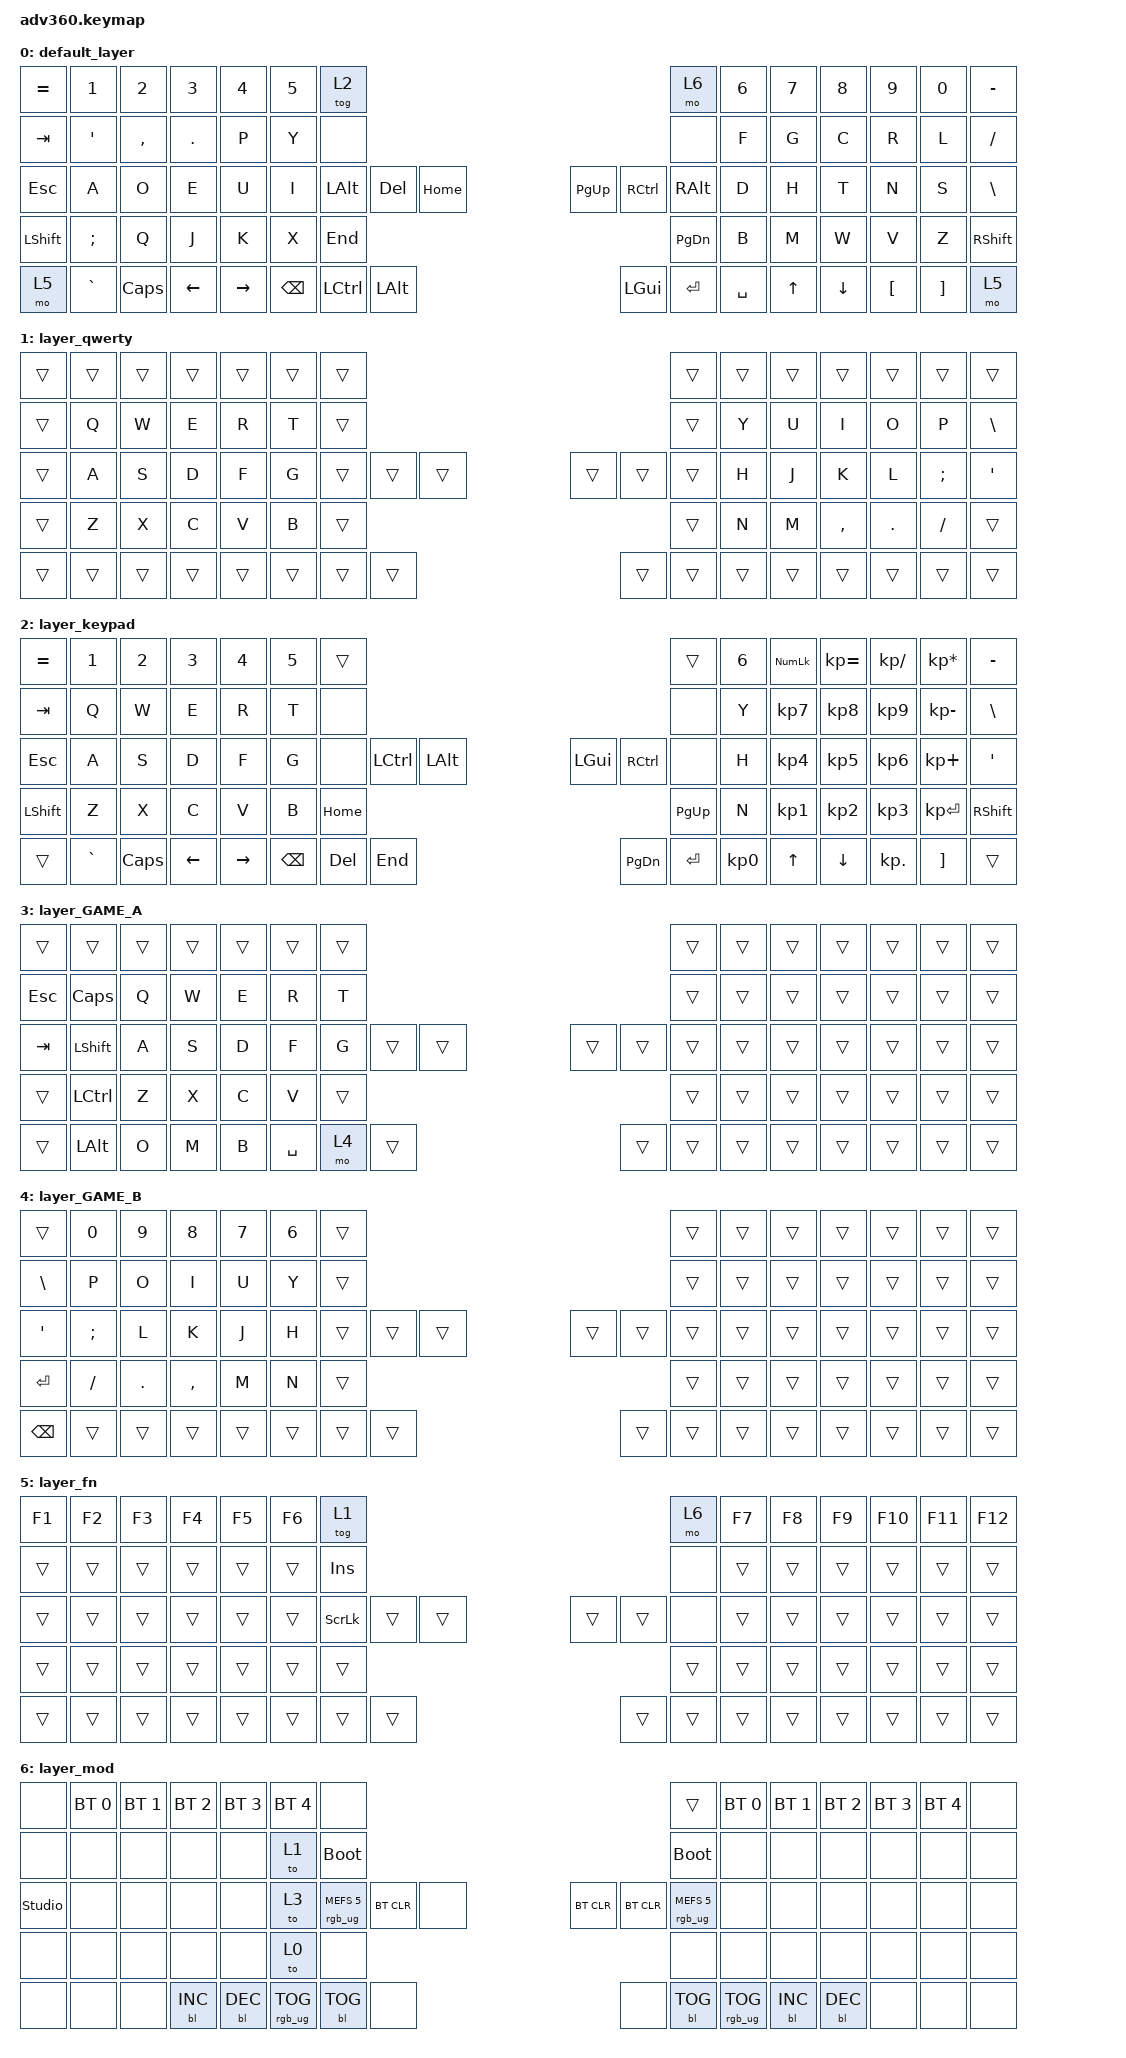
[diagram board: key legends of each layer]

/*
 * Copyright (c) 2020 The ZMK Contributors
 *
 * SPDX-License-Identifier: MIT
 */


/* THIS FILE WAS GENERATED!
 *
 * This file was generated automatically. You may or may not want to
 * edit it directly.
 */

#include <behaviors.dtsi>
#include <dt-bindings/zmk/keys.h>
#include <dt-bindings/zmk/bt.h>
#include <dt-bindings/zmk/rgb.h>
#include <dt-bindings/zmk/stp.h>
#include <dt-bindings/zmk/backlight.h>
#include <dt-bindings/zmk/pointing.h>

/ {
  behaviors {
    #include "macros.dtsi"
    #include "version.dtsi"

    hm: homerow_mods {
        compatible = "zmk,behavior-hold-tap";
        label = "HOMEROW_MODS";
        #binding-cells = <2>;
        tapping-term-ms = <200>;
        quick_tap_ms = <175>;
        flavor = "tap-preferred";
        bindings = <&kp>, <&kp>;
    };
    extra1 { 
      display-name = "Red";    
      status = "reserved";
    };

    extra2 { 
      display-name = "Purple";    
      status = "reserved";
    };

    extra3 { 
      display-name = "Cyan";    
      status = "reserved";
    };

    extra4 { 
      display-name = "Yellow";    
      status = "reserved";
    };
  };

    keymap {
        compatible = "zmk,keymap";


        default_layer {
            bindings = <
 &kp EQUAL     &kp N1     &kp N2    &kp N3     &kp N4  &kp N5              &tog 2                                                                 &mo 6  &kp N6  &kp N7    &kp N8    &kp N9    &kp N0  &kp MINUS
   &kp TAB   &kp APOS  &kp COMMA   &kp DOT      &kp P   &kp Y               &none                                                                 &none   &kp F   &kp G     &kp C     &kp R     &kp L   &kp FSLH
   &kp ESC      &kp A      &kp O     &kp E      &kp U   &kp I            &kp LALT    &kp DEL  &kp HOME                  &kp PG_UP  &kp RCTRL   &kp RALT   &kp D   &kp H     &kp T     &kp N     &kp S   &kp BSLH
 &kp LSHFT   &kp SEMI      &kp Q     &kp J      &kp K   &kp X                                  &kp END                  &kp PG_DN                         &kp B   &kp M     &kp W     &kp V     &kp Z  &kp RSHFT
     &mo 5  &kp GRAVE   &kp CAPS  &kp LEFT  &kp RIGHT                    &kp BSPC  &kp LCTRL  &kp LALT                   &kp LGUI  &kp ENTER  &kp SPACE          &kp UP  &kp DOWN  &kp LBKT  &kp RBKT      &mo 5
            >;
        };

        layer_qwerty {
            bindings = <
 &trans  &trans  &trans  &trans  &trans  &trans            &trans                                                  &trans  &trans  &trans     &trans   &trans    &trans    &trans
 &trans   &kp Q   &kp W   &kp E   &kp R   &kp T            &trans                                                  &trans   &kp Y   &kp U      &kp I    &kp O     &kp P  &kp BSLH
 &trans   &kp A   &kp S   &kp D   &kp F   &kp G            &trans  &trans  &trans                  &trans  &trans  &trans   &kp H   &kp J      &kp K    &kp L  &kp SEMI  &kp APOS
 &trans   &kp Z   &kp X   &kp C   &kp V   &kp B                            &trans                  &trans                   &kp N   &kp M  &kp COMMA  &kp DOT  &kp FSLH    &trans
 &trans  &trans  &trans  &trans  &trans                    &trans  &trans  &trans                  &trans  &trans  &trans          &trans     &trans   &trans    &trans    &trans
            >;
        };

        layer_keypad {
            bindings = <
 &kp EQUAL     &kp N1    &kp N2    &kp N3     &kp N4  &kp N5              &trans                                                                &trans  &kp N6  &kp KP_NUM  &kp KP_EQUAL  &kp KP_DIVIDE  &kp KP_MULTIPLY  &kp MINUS
   &kp TAB      &kp Q     &kp W     &kp E      &kp R   &kp T               &none                                                                 &none   &kp Y   &kp KP_N7     &kp KP_N8      &kp KP_N9     &kp KP_MINUS   &kp BSLH
   &kp ESC      &kp A     &kp S     &kp D      &kp F   &kp G               &none  &kp LCTRL  &kp LALT                   &kp LGUI  &kp RCTRL      &none   &kp H   &kp KP_N4     &kp KP_N5      &kp KP_N6      &kp KP_PLUS    &kp SQT
 &kp LSHFT      &kp Z     &kp X     &kp C      &kp V   &kp B                                 &kp HOME                  &kp PG_UP                         &kp N   &kp KP_N1     &kp KP_N2      &kp KP_N3     &kp KP_ENTER  &kp RSHFT
    &trans  &kp GRAVE  &kp CAPS  &kp LEFT  &kp RIGHT                    &kp BSPC    &kp DEL   &kp END                  &kp PG_DN  &kp ENTER  &kp KP_N0              &kp UP      &kp DOWN     &kp KP_DOT         &kp RBKT     &trans
            >;
        };

        layer_GAME_A {
            bindings = <
  &trans          &trans  &trans  &trans  &trans  &trans               &trans                                                  &trans  &trans  &trans  &trans  &trans  &trans  &trans
 &kp ESC        &kp CAPS   &kp Q   &kp W   &kp E   &kp R                &kp T                                                  &trans  &trans  &trans  &trans  &trans  &trans  &trans
 &kp TAB  &kp LEFT_SHIFT   &kp A   &kp S   &kp D   &kp F                &kp G  &trans  &trans                  &trans  &trans  &trans  &trans  &trans  &trans  &trans  &trans  &trans
  &trans       &kp LCTRL   &kp Z   &kp X   &kp C   &kp V                               &trans                  &trans                  &trans  &trans  &trans  &trans  &trans  &trans
  &trans    &kp LEFT_ALT   &kp O   &kp M   &kp B                    &kp SPACE   &mo 4  &trans                  &trans  &trans  &trans          &trans  &trans  &trans  &trans  &trans
            >;
        };

        layer_GAME_B {
            bindings = <
        &trans         &kp N0   &kp N9     &kp N8  &kp N7  &kp N6            &trans                                                  &trans  &trans  &trans  &trans  &trans  &trans  &trans
 &kp BACKSLASH          &kp P    &kp O      &kp I   &kp U   &kp Y            &trans                                                  &trans  &trans  &trans  &trans  &trans  &trans  &trans
      &kp APOS  &kp SEMICOLON    &kp L      &kp K   &kp J   &kp H            &trans  &trans  &trans                  &trans  &trans  &trans  &trans  &trans  &trans  &trans  &trans  &trans
     &kp ENTER      &kp SLASH  &kp DOT  &kp COMMA   &kp M   &kp N                            &trans                  &trans                  &trans  &trans  &trans  &trans  &trans  &trans
      &kp BSPC         &trans   &trans     &trans  &trans                    &trans  &trans  &trans                  &trans  &trans  &trans          &trans  &trans  &trans  &trans  &trans
            >;
        };

        layer_fn {
            bindings = <
 &kp F1  &kp F2  &kp F3  &kp F4  &kp F5  &kp F6                    &tog 1                                                   &mo 6  &kp F7  &kp F8  &kp F9  &kp F10  &kp F11  &kp F12
 &trans  &trans  &trans  &trans  &trans  &trans                &kp INSERT                                                   &none  &trans  &trans  &trans   &trans   &trans   &trans
 &trans  &trans  &trans  &trans  &trans  &trans            &kp SCROLLLOCK  &trans  &trans                  &trans  &trans   &none  &trans  &trans  &trans   &trans   &trans   &trans
 &trans  &trans  &trans  &trans  &trans  &trans                                    &trans                  &trans                  &trans  &trans  &trans   &trans   &trans   &trans
 &trans  &trans  &trans  &trans  &trans                            &trans  &trans  &trans                  &trans  &trans  &trans          &trans  &trans   &trans   &trans   &trans
            >;
        };

        layer_mod {
            bindings = <
  &none          &bt BT_SEL 0  &bt BT_SEL 1  &bt BT_SEL 2  &bt BT_SEL 3  &bt BT_SEL 4                             &none                                                                              &trans  &bt BT_SEL 0  &bt BT_SEL 1  &bt BT_SEL 2  &bt BT_SEL 3  &bt BT_SEL 4   &none
  &none          &none         &none         &none         &none         &to 1                       &bootloader                                                                         &bootloader         &none         &none         &none         &none         &none   &none
  &studio_unlock &none         &none         &none         &none         &to 3            &rgb_ug RGB_MEFS_CMD 5  &bt BT_CLR   &none                  &bt BT_CLR  &bt BT_CLR  &rgb_ug RGB_MEFS_CMD 5         &none         &none         &none         &none         &none   &none
  &none          &none         &none         &none         &none         &to 0                                                 &none                       &none                                             &none         &none         &none         &none         &none   &none
  &none          &none         &none         &bl BL_INC    &bl BL_DEC                            &rgb_ug RGB_TOG  &bl BL_TOG   &none                       &none  &bl BL_TOG         &rgb_ug RGB_TOG                  &bl BL_INC    &bl BL_DEC         &none         &none   &none
            >;
        };

    };
};
